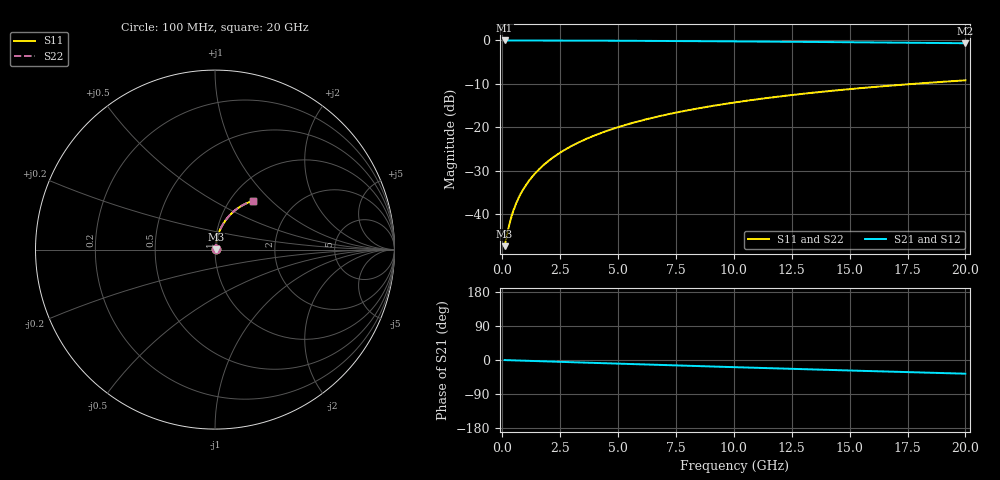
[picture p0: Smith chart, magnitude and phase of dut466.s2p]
! Touchstone file exported from HFSS 2026.1.0
!  File:  C:/ffzhzh/LocalFiles/Ansys_Project_Files/temp_train_BSMRDL_466_1783013573_53980.aedt
!  Generated:  01:34:13 AM Jul  3, 2026
!  Design:  BSMRDL
!  Project:  temp_train_BSMRDL_466_1783013573_53980
! Variables:
!  h_bsmrdl = 3.56um
!  h_ox = 20um
!  h_rdl = 5um
!  h_sub = 80um
!  h_tmrdl = 5um
!  h_tsv = 80um
!  h_via = 3um
!  l_bsmrdl = 522.03um
!  l_sub = 922.03um
!  l_tmrdl = 200um
!  m_sub = 200um
!  pitch = 35.88um
!  r_tsv = 6um
!  s_tmrdl = 10um
!  w_bsmrdl = 14.7um
!  w_sub = 500um
!  w_tmrdl = 12um
!  x_tsv_center1 = 206um
!  x_tsv_center2 = 742.73um
!  x_tsv_center3 = 954.73um
!  x_tsv_center4 = 1491.46um
!  x_tsv_center5 = 1703.46um
!  x_tsv_center6 = 2240.19um
# GHz S MA R 50.000000
! Terminal data exported
! Port[1] = BSM_RDL1_1_T1
! Port[2] = BSM_RDL1_1_T2
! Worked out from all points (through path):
!   200 points, 100 MHz to 20 GHz, reference 50 ohm
!   highest |S21| = -0.03 dB at 100 MHz (marker M1); lowest = -0.7 dB at 20 GHz (marker M2)
!   group delay of S21, straight-line fit = 5.02 ps
!   lowest |S11| = -47.4 dB at 100 MHz (marker M3), VSWR 1.01, Z = 50.4 + j0.22 ohm
!   |S11| at or under -10 dB: start of sweep to 17.83 GHz
!   |S22| runs from -47.4 to -9.2 dB; largest |S21 - S12| = 2.6e-15
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0.1  0.004261 30.8  0.9963 -0.2  0.9963 -0.2  0.004261 30.8
! Gamma 0 0 0 0
! Port Impedance 50 0 50 0
0.2  0.005743 49.0  0.9963 -0.4  0.9963 -0.4  0.005743 49.0
0.3  0.007532 58.6  0.9961 -0.6  0.9961 -0.6  0.007532 58.6
0.4  0.009418 64.3  0.996 -0.8  0.996 -0.8  0.009418 64.3
0.5  0.01134 68.0  0.9959 -1.0  0.9959 -1.0  0.01134 68.0
0.6  0.01327 70.6  0.9958 -1.2  0.9958 -1.2  0.01327 70.6
0.8  0.01716 73.9  0.9956 -1.6  0.9956 -1.6  0.01716 73.9
1.1  0.02306 76.8  0.9953 -2.2  0.9953 -2.2  0.02306 76.8
1.3  0.02702 77.8  0.9951 -2.5  0.9951 -2.5  0.02702 77.8
1.6  0.03297 78.8  0.9949 -3.1  0.9949 -3.1  0.03297 78.8
2.1  0.04293 79.5  0.9943 -4.1  0.9943 -4.1  0.04293 79.5
2.7  0.05487 79.5  0.9935 -5.2  0.9935 -5.2  0.05487 79.5
3.5  0.0707 78.8  0.9921 -6.8  0.9921 -6.8  0.0707 78.8
4.2  0.08443 78.0  0.9907 -8.1  0.9907 -8.1  0.08443 78.0
5  0.09995 76.8  0.9888 -9.6  0.9888 -9.6  0.09995 76.8
5.9  0.1172 75.4  0.9863 -11.3  0.9863 -11.3  0.1172 75.4
6.8  0.1341 73.9  0.9837 -13.0  0.9837 -13.0  0.1341 73.9
8.3  0.1617 71.3  0.9786 -15.8  0.9786 -15.8  0.1617 71.3
10.1  0.1937 68.2  0.9719 -19.1  0.9719 -19.1  0.1937 68.2
13.4  0.249 62.6  0.9579 -24.9  0.9579 -24.9  0.249 62.6
16.7  0.2999 57.2  0.9423 -30.6  0.9423 -30.6  0.2999 57.1
20  0.3462 51.8  0.9258 -36.1  0.9258 -36.1  0.3462 51.8
